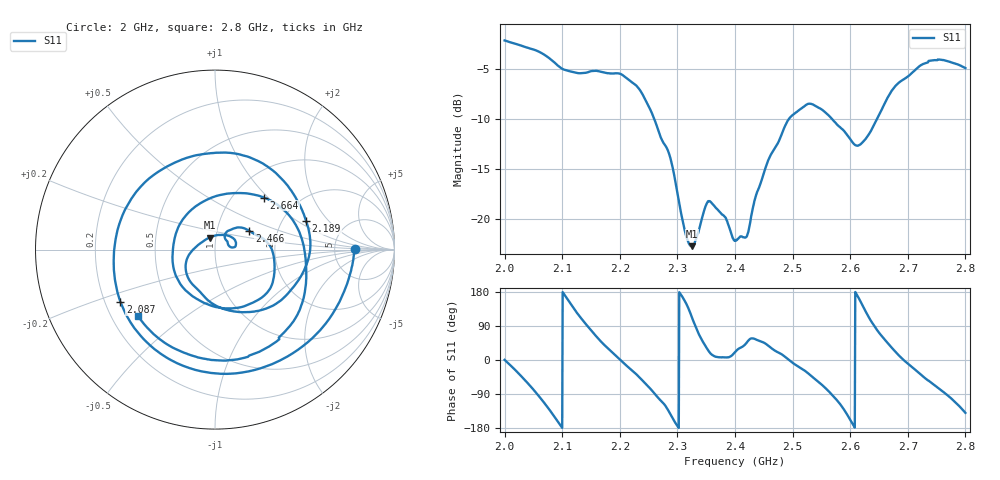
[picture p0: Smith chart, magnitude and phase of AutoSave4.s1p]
!Agilent N9923A: A.05.17
!Date: Sunday, 01 January 2006 12:31:34
!Model: N9923A
!Serial: MY50371189
!CHECKSUM:2117295556
!Correction: S11(ON U)
!S1P File: Measurement: S11:
# Hz S DB R 50
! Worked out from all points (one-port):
!   1001 points, 2 GHz to 2.8 GHz, reference 50 ohm
!   lowest |S11| = -22.7 dB at 2.325 GHz (marker M1), VSWR 1.16, Z = 46.6 + j6.29 ohm
!   |S11| at or under -10 dB: 2.26 GHz to 2.493 GHz (233.6 MHz wide, 9.83 % of centre); 2.568 GHz to 2.647 GHz (78.24 MHz wide, 3 % of centre)
!   S11 on the Smith chart (normalised r, x): 2 GHz: 7.98, +0.18; 2.087 GHz: 0.26, -0.24; 2.189 GHz: 2.68, +1.19; 2.466 GHz: 1.43, +0.31; 2.664 GHz: 1.38, +0.95; 2.8 GHz: 0.31, -0.34
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2e9  -2.19 0.3
2.0232e9  -2.59 -33.7
2.0496e9  -3.08 -77.3
2.0672e9  -3.54 -110.0
2.0872e9  -4.41 -151.2
2.1e9  -5.00 -179.1
2.1216e9  -5.35 132.8
2.1416e9  -5.40 93.8
2.1656e9  -5.27 51.5
2.1888e9  -5.48 17.4
2.2e9  -5.49 1.4
2.2456e9  -8.21 -63.7
2.2816e9  -12.90 -126.6
2.3e9  -17.44 -174.1
2.3248e9  -22.66 114.4
2.3552e9  -18.17 21.6
2.4e9  -22.07 20.7
2.4208e9  -21.64 46.9
2.4656e9  -13.23 28.5
2.5e9  -9.61 -7.5
2.5568e9  -9.35 -73.9
2.6e9  -11.99 -157.6
2.636e9  -11.19 103.4
2.664e9  -7.99 46.6
2.7e9  -5.78 -9.5
2.7232e9  -4.63 -39.2
2.7552e9  -4.09 -76.6
2.8e9  -4.94 -139.5
